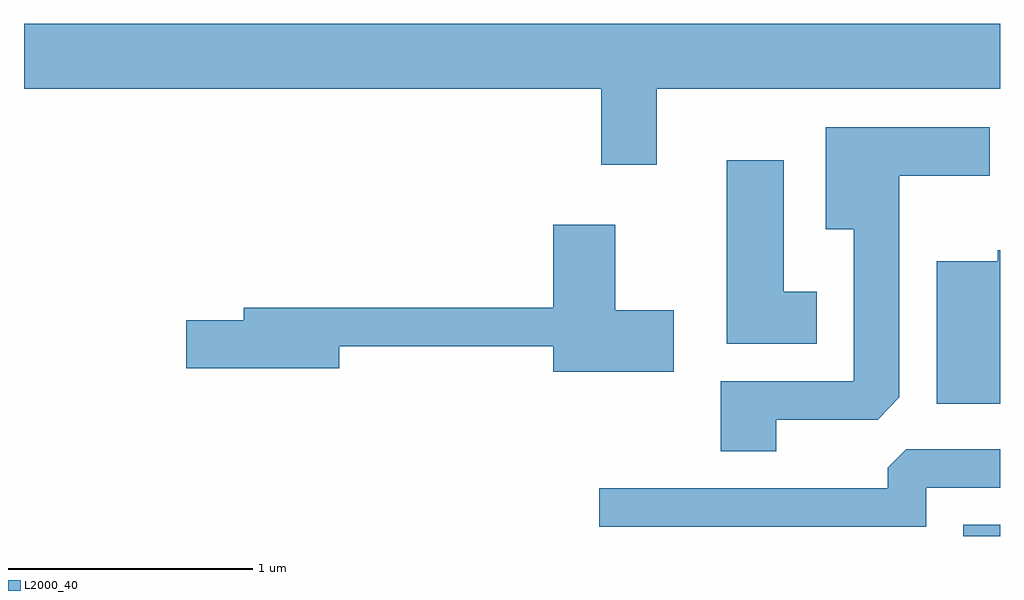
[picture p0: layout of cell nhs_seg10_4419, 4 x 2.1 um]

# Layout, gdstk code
import gdstk
lib = gdstk.Library(unit=1e-6, precision=1e-09)
def R(c, l, rs):  # rectangles x0, y0, x1, y1
    for r in rs: c.add(gdstk.rectangle(r[:2], r[2:], *l))
def P(c, l, *ps):  # polygons
    for p in ps: c.add(gdstk.Polygon(p, *l))
L2000_40 = (2000, 40)

nhs_seg10_4419 = lib.new_cell('nhs_seg10_4419')
R(nhs_seg10_4419, L2000_40, [(319.461,2116.522,319.611,2116.569)])
P(nhs_seg10_4419, L2000_40, [(318.204,2118.356),(319.611,2118.356),(319.611,2118.624),(315.611,2118.624),(315.611,2118.356),(317.976,2118.356),(317.976,2118.046),(318.204,2118.046)],
  [(318.694,2117.001),(319.109,2117.001),(319.199,2117.092),(319.199,2118.001),(319.569,2118.001),(319.569,2118.199),(318.896,2118.199),(318.896,2117.781),(319.011,2117.781),(319.011,2117.159),(318.466,2117.159),(318.466,2116.871),(318.694,2116.871)],
  [(318.859,2117.524),(318.724,2117.524),(318.724,2118.064),(318.491,2118.064),(318.491,2117.311),(318.859,2117.311)],
  [(318.274,2117.449),(318.034,2117.449),(318.034,2117.799),(317.781,2117.799),(317.781,2117.459),(316.511,2117.459),(316.511,2117.409),(316.276,2117.409),(316.276,2117.211),(316.904,2117.211),(316.904,2117.301),(317.781,2117.301),(317.781,2117.196),(318.274,2117.196)],
  [(319.611,2117.694),(319.601,2117.694),(319.601,2117.649),(319.351,2117.649),(319.351,2117.066),(319.611,2117.066)],
  [(319.309,2116.721),(319.611,2116.721),(319.611,2116.879),(319.227,2116.879),(319.151,2116.804),(319.151,2116.719),(317.968,2116.719),(317.968,2116.561),(319.309,2116.561)])

lib.write_gds('nhs_seg10_4419.gds')
